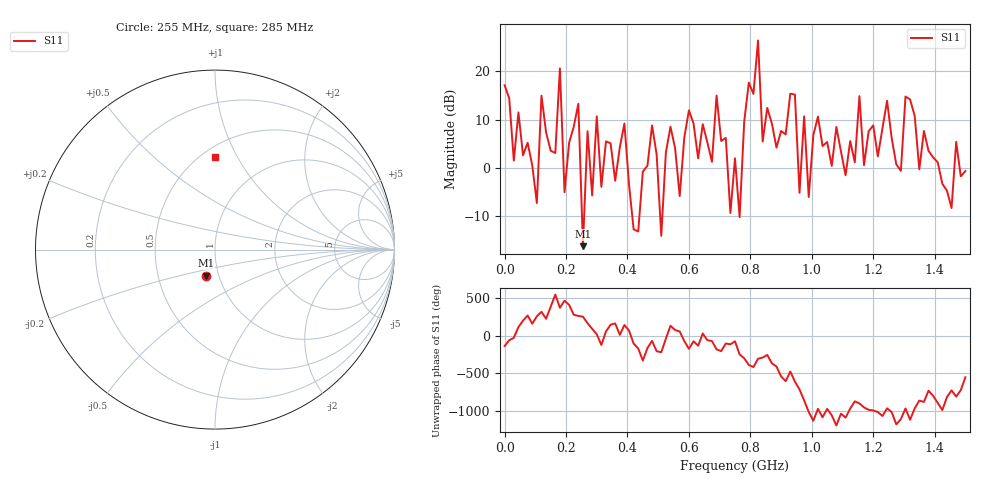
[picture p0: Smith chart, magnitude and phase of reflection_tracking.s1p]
! Created with skrf 1.8.0 (http://scikit-rf.org).
# Hz S RI R 50.0
!freq ReS11 ImS11
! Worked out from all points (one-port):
!   101 points, 50 kHz to 1.5 GHz, reference 50 ohm
!   lowest |S11| = -16.2 dB at 255 MHz (marker M1), VSWR 1.37, Z = 43.3 - j12.9 ohm
!   |S11| at or under -10 dB: 251.9 MHz to 259 MHz (7.069 MHz wide, 2.77 % of centre); 415.6 MHz to 438.9 MHz (23.23 MHz wide, 5.44 % of centre); 506.4 MHz to 513.6 MHz (7.173 MHz wide, 1.41 % of centre) (the widest 3 of 4)
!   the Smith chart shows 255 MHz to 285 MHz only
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50000  -5.322 -4.796
1.50495e7  2.525 -4.598
4.50485e7  -1.447 3.457
1.20046e8  3.955 -3.95
1.650445e8  -1.423 -0.0689
1.80044e8  10.6 1.544
1.950435e8  -0.1172 0.547
2.550415e8  -0.0518 -0.1458
3.750375e8  1.61 0.2733
5.70031e8  0.2926 0.4183
6.0003e8  -3.921 -0.4
6.450285e8  2.496 1.342
6.90027e8  -5.609 0.175
7.50025e8  0.3255 -1.211
7.80024e8  1.478 2.63
8.10023e8  3.334 -4.779
8.250225e8  12 17.03
8.40022e8  0.6547 1.757
9.150195e8  -1.049 1.958
9.30019e8  -2.392 -5.348
9.450185e8  -2.257 5.279
9.750175e8  -2.412 -2.419
1.125012e9  -0.8046 1.718
1.275008e9  -0.0321 -1.088
1.305006e9  -2.568 4.835
1.320006e9  4.327 -2.705
1.335006e9  -1.659 3.015
1.5e9  -0.9146 0.1583
